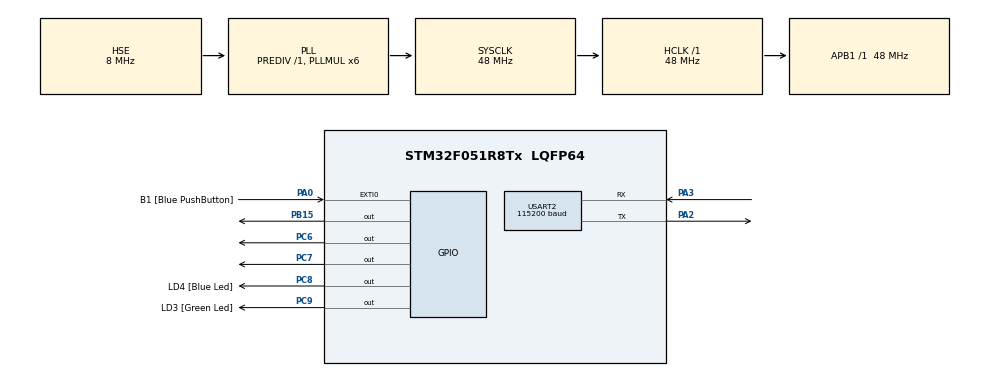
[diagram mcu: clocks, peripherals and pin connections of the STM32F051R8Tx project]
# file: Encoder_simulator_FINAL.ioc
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Dma.Request0=USART2_RX
Dma.Request1=USART2_TX
Dma.USART2_RX.0.Direction=DMA_PERIPH_TO_MEMORY
Dma.USART2_RX.0.Instance=DMA1_Channel5
Dma.USART2_RX.0.MemDataAlignment=DMA_MDATAALIGN_BYTE
Dma.USART2_RX.0.MemInc=DMA_MINC_ENABLE
Dma.USART2_RX.0.Mode=DMA_NORMAL
Dma.USART2_RX.0.PeriphDataAlignment=DMA_PDATAALIGN_BYTE
Dma.USART2_RX.0.PeriphInc=DMA_PINC_DISABLE
Dma.USART2_RX.0.Priority=DMA_PRIORITY_LOW
Dma.USART2_TX.1.Direction=DMA_MEMORY_TO_PERIPH
Dma.USART2_TX.1.Instance=DMA1_Channel4
Dma.USART2_TX.1.MemDataAlignment=DMA_MDATAALIGN_BYTE
Dma.USART2_TX.1.MemInc=DMA_MINC_ENABLE
Dma.USART2_TX.1.Mode=DMA_NORMAL
Dma.USART2_TX.1.PeriphDataAlignment=DMA_PDATAALIGN_BYTE
Dma.USART2_TX.1.PeriphInc=DMA_PINC_DISABLE
Dma.USART2_TX.1.Priority=DMA_PRIORITY_LOW
Mcu.Family=STM32F0
Mcu.Name=STM32F051R8Tx
Mcu.Package=LQFP64
NVIC.DMA1_Channel4_5_IRQn=true\:0\:0\:false\:false\:true\:false\:true\:true
NVIC.EXTI0_1_IRQn=true\:0\:0\:false\:false\:true\:true\:true\:true
NVIC.RCC_IRQn=true\:0\:0\:false\:false\:true\:true\:false\:true
NVIC.TIM2_IRQn=true\:0\:0\:false\:false\:true\:true\:true\:true
NVIC.USART2_IRQn=true\:0\:0\:false\:false\:true\:true\:true\:true
PA0.GPIO_Label=B1 [Blue PushButton]
PA0.GPIO_ModeDefaultEXTI=GPIO_MODE_IT_FALLING
PA0.GPIO_PuPd=GPIO_PULLDOWN
PA0.Signal=GPXTI0
PA13.GPIO_Label=SWDIO
PA13.Mode=Serial_Wire
PA13.Signal=SYS_SWDIO
PA14.GPIO_Label=SWCLK
PA14.Mode=Serial_Wire
PA14.Signal=SYS_SWCLK
PA2.Mode=Asynchronous
PA2.Signal=USART2_TX
PA3.Mode=Asynchronous
PA3.Signal=USART2_RX
PB15.GPIO_PuPd=GPIO_PULLUP
PB15.Signal=GPIO_Output
PC6.GPIO_ModeDefaultOutputPP=GPIO_MODE_OUTPUT_PP
PC6.GPIO_PuPd=GPIO_PULLUP
PC6.Signal=GPIO_Output
PC7.GPIO_ModeDefaultOutputPP=GPIO_MODE_OUTPUT_PP
PC7.GPIO_PuPd=GPIO_PULLUP
PC7.Signal=GPIO_Output
PC8.GPIO_Label=LD4 [Blue Led]
PC8.Signal=GPIO_Output
PC9.GPIO_Label=LD3 [Green Led]
PC9.Signal=GPIO_Output
PF0-OSC_IN.Mode=HSE-External-Oscillator
PF0-OSC_IN.Signal=RCC_OSC_IN
PF1-OSC_OUT.Mode=HSE-External-Oscillator
PF1-OSC_OUT.Signal=RCC_OSC_OUT
ProjectManager.HeapSize=0x200
ProjectManager.StackSize=0x400
ProjectManager.TargetToolchain=STM32CubeIDE
RCC.AHBFreq_Value=48000000
RCC.APB1Freq_Value=48000000
RCC.APB1TimFreq_Value=48000000
RCC.HCLKFreq_Value=48000000
RCC.PLLMUL=RCC_PLL_MUL6
RCC.PLLSourceVirtual=RCC_PLLSOURCE_HSE
RCC.SYSCLKFreq_VALUE=48000000
RCC.SYSCLKSource=RCC_SYSCLKSOURCE_PLLCLK
TIM2.Period=0xffff-1
TIM2.Prescaler=48-1
USART2.BaudRate=115200
USART2.VirtualMode-Asynchronous=VM_ASYNC
VP_TIM2_VS_ClockSourceINT.Mode=Internal
board=STM32F0DISCOVERY

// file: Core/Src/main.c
/* USER CODE BEGIN Header */
/**
 ******************************************************************************
 * @file           : main.c
 * @brief          : Main program body
 ******************************************************************************
 * @attention
 *
 * <h2><center>&copy; Copyright (c) 2022 STMicroelectronics.
 * All rights reserved.</center></h2>
 *
 * This software component is licensed by ST under BSD 3-Clause license,
 * the "License"; You may not use this file except in compliance with the
 * License. You may obtain a copy of the License at:
 *                        opensource.org/licenses/BSD-3-Clause
 *
 ******************************************************************************
 */
/* USER CODE END Header */
#include "main.h"

TIM_HandleTypeDef htim2;

UART_HandleTypeDef huart2;
DMA_HandleTypeDef hdma_usart2_rx;
DMA_HandleTypeDef hdma_usart2_tx;

void SystemClock_Config(void);
static void MX_GPIO_Init(void);
static void MX_DMA_Init(void);
static void MX_USART2_UART_Init(void);
static void MX_TIM2_Init(void);

/* USER CODE BEGIN 0 */
#include "string.h"
#include <stdbool.h> // for activate bool type
#include <stdio.h>

uint32_t previousMillis = 0;
uint32_t currentMillis = 0;
int32_t delaystart = 0;
int32_t delayMillis = 0;
int direction_mode = 1;
int polestep = 0;
int desStep = 0;

static bool encoder_state = 0;

#define rxbuff_size 10 // 10 bytes
char txbuffer[50] = { 0 };
#define mainbuff_size 20
uint8_t rxdatasize;

uint8_t rxbuff[rxbuff_size]; // where DMA is going to copy data
uint8_t blankdata[mainbuff_size]; // remove previous data
uint8_t mainbuff[mainbuff_size]; // Data will be finally store here
_Bool uart_rx_int = 0;

void delay(uint16_t us) {
	__HAL_TIM_SET_COUNTER(&htim2, 0);
	while (__HAL_TIM_GET_COUNTER(&htim2) < us)
		;
}

#define stepsperrev 1440

bool gled_state = 1; // g led state
bool bled_state = 0; // b led state
uint8_t button_val = 0;

uint32_t counter = 0;
_Bool pause = 0;
int estep = 0;

void stepper_set_rpm(int rpm) // Set rpm--> max 13, min 1,,,  went to 14 rev/min
{
	delay(60000000 / stepsperrev / rpm); //delay(input us)

}

void stepper_half_drive(int step) {
	switch (step) {
	case 0:
		HAL_GPIO_WritePin(GPIOC, GPIO_PIN_6, GPIO_PIN_SET);   // IN1
		HAL_GPIO_WritePin(GPIOC, GPIO_PIN_7, GPIO_PIN_RESET);   // IN2
		break;

	case 1:
		HAL_GPIO_WritePin(GPIOC, GPIO_PIN_6, GPIO_PIN_SET);   // IN1
		HAL_GPIO_WritePin(GPIOC, GPIO_PIN_7, GPIO_PIN_SET);   // IN2

		break;

	case 2:
		HAL_GPIO_WritePin(GPIOC, GPIO_PIN_6, GPIO_PIN_RESET);   // IN1
		HAL_GPIO_WritePin(GPIOC, GPIO_PIN_7, GPIO_PIN_SET);   // IN2

		break;

	case 3:
		HAL_GPIO_WritePin(GPIOC, GPIO_PIN_6, GPIO_PIN_RESET);   // IN1
		HAL_GPIO_WritePin(GPIOC, GPIO_PIN_7, GPIO_PIN_RESET);   // IN2

		break;

	}
}

void stepper_step_angle(float angle, int direction, int rpm) {
	float anglepersequence = 1;  // 360 = 360 sequences
	int numberofsequences = (int) (angle / anglepersequence);
	for (int seq = 0; seq < numberofsequences; seq++) {
		if (direction == 0)  // for clockwise
				{
			for (int step1 = 3; step1 >= 0; step1--) {
				polestep--;
				estep--;
				if (estep < 0) {
					estep = 3;
				}
				stepper_half_drive(estep);
				stepper_set_rpm(rpm);
			}
		}

		else if (direction == 1)  // for anti-clockwise
				{
			for (int step1 = 0; step1 < 4; step1++) {
				polestep++;
				estep++;
				if (estep > 3) {
					estep = 0;
				}
				stepper_half_drive(estep);
				stepper_set_rpm(rpm);
			}
		}
	}
}

void HAL_GPIO_EXTI_Callback(uint16_t GPIO_Pin) {
	static bool prev_val;
	currentMillis = HAL_GetTick();
	if (GPIO_Pin == B1_Pin && (currentMillis - previousMillis > 100)) {
		if (prev_val == false) {
			delaystart = HAL_GetTick();
			delayMillis = HAL_GetTick();
			HAL_GPIO_WritePin(GPIOC, LD3_Pin, 1);
			HAL_GPIO_WritePin(GPIOC, LD4_Pin, 1);
			HAL_GPIO_WritePin(GPIOB, GPIO_PIN_15, 1);
			HAL_Delay(500);
			//delay 500000us = 0.5s
			HAL_GPIO_WritePin(GPIOC, LD3_Pin, 0);
			HAL_GPIO_WritePin(GPIOB, GPIO_PIN_15, 0);
			encoder_state = !encoder_state;
			prev_val = true;
		} else {
			delaystart = HAL_GetTick();
			delayMillis = HAL_GetTick();
			HAL_GPIO_WritePin(GPIOC, LD3_Pin, 1);
			HAL_GPIO_WritePin(GPIOC, LD4_Pin, 0);
			HAL_GPIO_WritePin(GPIOB, GPIO_PIN_15, 1);
			HAL_Delay(500);
			//delay 500000us = 0.5s
			HAL_GPIO_WritePin(GPIOC, LD3_Pin, 0);
			HAL_GPIO_WritePin(GPIOB, GPIO_PIN_15, 0);
			encoder_state = !encoder_state;
			prev_val = false;
			direction_mode++;
			polestep = 0;
			if (direction_mode > 1) {
				direction_mode = 0;
			}
		}
		previousMillis = currentMillis;
	}
}

// Code for DMA data Rx and Tx
void HAL_UARTEx_RxEventCallback(UART_HandleTypeDef *huart, uint16_t Size) {
	if (huart->Instance == USART2) {
		memcpy(mainbuff, blankdata, mainbuff_size);
		//remove the enter digit from Arduino serial monitor
		if (rxbuff[Size - 1] == 10) {
			Size = Size - 1;
		}
		memcpy(mainbuff, rxbuff, Size); // store value fm Uart2, need #include "string.h" //Size - 1
		HAL_UARTEx_ReceiveToIdle_DMA(&huart2, rxbuff, rxbuff_size); // rx stop after receive, restart it again
		__HAL_DMA_DISABLE_IT(&hdma_usart2_rx, DMA_IT_HT);
		rxdatasize = Size;
		uart_rx_int = 1;
	}
}

// Create counter msg
void printpolestep( txbuffer, polestep) {
	sprintf(txbuffer, "counter = %03d\n\r", polestep);
	tx_msg((char*) txbuffer);
}

// Tx msg from Uart 2
void tx_msg( txbuffer) {
	HAL_UART_Transmit_DMA(&huart2, (uint8_t*) txbuffer, strlen(txbuffer));
	HAL_Delay(10);
}

/* USER CODE END 0 */

int main(void)
{

  /* MCU Configuration--------------------------------------------------------*/

  /* Reset of all peripherals, Initializes the Flash interface and the Systick. */
  HAL_Init();

  /* Configure the system clock */
  SystemClock_Config();

  /* Initialize all configured peripherals */
  MX_GPIO_Init();
  MX_DMA_Init();
  MX_USART2_UART_Init();
  MX_TIM2_Init();
  /* USER CODE BEGIN 2 */
	HAL_TIM_Base_Start(&htim2);
	HAL_UARTEx_ReceiveToIdle_DMA(&huart2, rxbuff, rxbuff_size); // call uart rx function, data store in rxbuff
	__HAL_DMA_DISABLE_IT(&hdma_usart2_rx, DMA_IT_HT); // hal dma it start by default, disable half tx IT, this IT trigger when  half data has been transfer
  /* USER CODE END 2 */

  /* Infinite loop */
	while (1) {

    /* USER CODE BEGIN 3 */
		if (uart_rx_int == 1) {
			uart_rx_int = 0;

			if (strncmp((char*) mainbuff, "resume", rxdatasize - 1) == 0
					&& strlen(mainbuff) == 6) {
				pause = 0;

				sprintf(txbuffer, "\n '%s' has been recieved \n", mainbuff);
				tx_msg((char*) txbuffer);

				sprintf(txbuffer, "program resume \n\r");
				tx_msg((char*) txbuffer);

			} else if (strncmp((char*) mainbuff, "stop", rxdatasize - 1) == 0
					&& strlen(mainbuff) == 4) {
				pause = 1;

				sprintf(txbuffer, "\n '%s' has been recieved \n", mainbuff);
				tx_msg((char*) txbuffer);

				sprintf(txbuffer, "program stop \n\r");
				tx_msg((char*) txbuffer);

				HAL_GPIO_WritePin(GPIOC, GPIO_PIN_6, GPIO_PIN_RESET);   // IN1
				HAL_GPIO_WritePin(GPIOC, GPIO_PIN_7, GPIO_PIN_RESET);   // IN2

			} else if (strncmp((char*) mainbuff, "forward", rxdatasize - 1) == 0
					&& strlen(mainbuff) == 7) {

				sprintf(txbuffer, " '%s' has been recieved \n", mainbuff);
				tx_msg((char*) txbuffer);
				direction_mode = 1;

			} else if (strncmp((char*) mainbuff, "backward", rxdatasize - 1)
					== 0 && strlen(mainbuff) == 8) {

				sprintf(txbuffer, " '%s' has been recieved \n", mainbuff);
				tx_msg((char*) txbuffer);
				direction_mode = 0;
			}

			else {
				sprintf(txbuffer, " '%s' has been recieved \n", mainbuff);
				tx_msg((char*) txbuffer);
				sprintf(txbuffer, "===invalid input=== \n\r");
				tx_msg((char*) txbuffer);
			}
		}

		if (pause == 0) {
			HAL_GPIO_WritePin(GPIOC, LD3_Pin, bled_state);
			HAL_GPIO_WritePin(GPIOC, LD4_Pin, gled_state);
			gled_state = !gled_state;
			bled_state = !bled_state;
			stepper_step_angle(1, direction_mode, 1);
			printpolestep((char*) txbuffer, polestep);
			if (polestep % 360 == 0) {
				HAL_Delay(5000);
			}

		}
		//HAL_Delay(200);

	} // while END
  /* USER CODE END 3 */
}

void SystemClock_Config(void)
{
  RCC_OscInitTypeDef RCC_OscInitStruct = {0};
  RCC_ClkInitTypeDef RCC_ClkInitStruct = {0};

  /** Initializes the RCC Oscillators according to the specified parameters
  * in the RCC_OscInitTypeDef structure.
  */
  RCC_OscInitStruct.OscillatorType = RCC_OSCILLATORTYPE_HSE;
  RCC_OscInitStruct.HSEState = RCC_HSE_ON;
  RCC_OscInitStruct.PLL.PLLState = RCC_PLL_ON;
  RCC_OscInitStruct.PLL.PLLSource = RCC_PLLSOURCE_HSE;
  RCC_OscInitStruct.PLL.PLLMUL = RCC_PLL_MUL6;
  RCC_OscInitStruct.PLL.PREDIV = RCC_PREDIV_DIV1;
  if (HAL_RCC_OscConfig(&RCC_OscInitStruct) != HAL_OK)
  {
    Error_Handler();
  }
  /** Initializes the CPU, AHB and APB buses clocks
  */
  RCC_ClkInitStruct.ClockType = RCC_CLOCKTYPE_HCLK|RCC_CLOCKTYPE_SYSCLK
                              |RCC_CLOCKTYPE_PCLK1;
  RCC_ClkInitStruct.SYSCLKSource = RCC_SYSCLKSOURCE_PLLCLK;
  RCC_ClkInitStruct.AHBCLKDivider = RCC_SYSCLK_DIV1;
  RCC_ClkInitStruct.APB1CLKDivider = RCC_HCLK_DIV1;

  if (HAL_RCC_ClockConfig(&RCC_ClkInitStruct, FLASH_LATENCY_1) != HAL_OK)
  {
    Error_Handler();
  }
}

static void MX_TIM2_Init(void)
{

  TIM_ClockConfigTypeDef sClockSourceConfig = {0};
  TIM_MasterConfigTypeDef sMasterConfig = {0};

  htim2.Instance = TIM2;
  htim2.Init.Prescaler = 48-1;
  htim2.Init.CounterMode = TIM_COUNTERMODE_UP;
  htim2.Init.Period = 0xffff-1;
  htim2.Init.ClockDivision = TIM_CLOCKDIVISION_DIV1;
  htim2.Init.AutoReloadPreload = TIM_AUTORELOAD_PRELOAD_DISABLE;
  if (HAL_TIM_Base_Init(&htim2) != HAL_OK)
  {
    Error_Handler();
  }
  sClockSourceConfig.ClockSource = TIM_CLOCKSOURCE_INTERNAL;
  if (HAL_TIM_ConfigClockSource(&htim2, &sClockSourceConfig) != HAL_OK)
  {
    Error_Handler();
  }
  sMasterConfig.MasterOutputTrigger = TIM_TRGO_RESET;
  sMasterConfig.MasterSlaveMode = TIM_MASTERSLAVEMODE_DISABLE;
  if (HAL_TIMEx_MasterConfigSynchronization(&htim2, &sMasterConfig) != HAL_OK)
  {
    Error_Handler();
  }

}

static void MX_USART2_UART_Init(void)
{

  huart2.Instance = USART2;
  huart2.Init.BaudRate = 115200;
  huart2.Init.WordLength = UART_WORDLENGTH_8B;
  huart2.Init.StopBits = UART_STOPBITS_1;
  huart2.Init.Parity = UART_PARITY_NONE;
  huart2.Init.Mode = UART_MODE_TX_RX;
  huart2.Init.HwFlowCtl = UART_HWCONTROL_NONE;
  huart2.Init.OverSampling = UART_OVERSAMPLING_16;
  huart2.Init.OneBitSampling = UART_ONE_BIT_SAMPLE_DISABLE;
  huart2.AdvancedInit.AdvFeatureInit = UART_ADVFEATURE_NO_INIT;
  if (HAL_UART_Init(&huart2) != HAL_OK)
  {
    Error_Handler();
  }

}

static void MX_DMA_Init(void)
{

  /* DMA controller clock enable */
  __HAL_RCC_DMA1_CLK_ENABLE();

  /* DMA interrupt init */
  /* DMA1_Channel4_5_IRQn interrupt configuration */
  HAL_NVIC_SetPriority(DMA1_Channel4_5_IRQn, 0, 0);
  HAL_NVIC_EnableIRQ(DMA1_Channel4_5_IRQn);

}

static void MX_GPIO_Init(void)
{
  GPIO_InitTypeDef GPIO_InitStruct = {0};

  /* GPIO Ports Clock Enable */
  __HAL_RCC_GPIOF_CLK_ENABLE();
  __HAL_RCC_GPIOA_CLK_ENABLE();
  __HAL_RCC_GPIOB_CLK_ENABLE();
  __HAL_RCC_GPIOC_CLK_ENABLE();

  /*Configure GPIO pin Output Level */
  HAL_GPIO_WritePin(GPIOB, GPIO_PIN_15, GPIO_PIN_RESET);

  /*Configure GPIO pin Output Level */
  HAL_GPIO_WritePin(GPIOC, GPIO_PIN_6|GPIO_PIN_7|LD4_Pin|LD3_Pin, GPIO_PIN_RESET);

  /*Configure GPIO pin : B1_Pin */
  GPIO_InitStruct.Pin = B1_Pin;
  GPIO_InitStruct.Mode = GPIO_MODE_IT_FALLING;
  GPIO_InitStruct.Pull = GPIO_PULLDOWN;
  HAL_GPIO_Init(B1_GPIO_Port, &GPIO_InitStruct);

  /*Configure GPIO pin : PB15 */
  GPIO_InitStruct.Pin = GPIO_PIN_15;
  GPIO_InitStruct.Mode = GPIO_MODE_OUTPUT_PP;
  GPIO_InitStruct.Pull = GPIO_PULLUP;
  GPIO_InitStruct.Speed = GPIO_SPEED_FREQ_LOW;
  HAL_GPIO_Init(GPIOB, &GPIO_InitStruct);

  /*Configure GPIO pins : PC6 PC7 */
  GPIO_InitStruct.Pin = GPIO_PIN_6|GPIO_PIN_7;
  GPIO_InitStruct.Mode = GPIO_MODE_OUTPUT_PP;
  GPIO_InitStruct.Pull = GPIO_PULLUP;
  GPIO_InitStruct.Speed = GPIO_SPEED_FREQ_LOW;
  HAL_GPIO_Init(GPIOC, &GPIO_InitStruct);

  /*Configure GPIO pins : LD4_Pin LD3_Pin */
  GPIO_InitStruct.Pin = LD4_Pin|LD3_Pin;
  GPIO_InitStruct.Mode = GPIO_MODE_OUTPUT_PP;
  GPIO_InitStruct.Pull = GPIO_NOPULL;
  GPIO_InitStruct.Speed = GPIO_SPEED_FREQ_LOW;
  HAL_GPIO_Init(GPIOC, &GPIO_InitStruct);

  /* EXTI interrupt init*/
  HAL_NVIC_SetPriority(EXTI0_1_IRQn, 0, 0);
  HAL_NVIC_EnableIRQ(EXTI0_1_IRQn);

}

void Error_Handler(void)
{
	__disable_irq();
	while (1) {
	}
}
